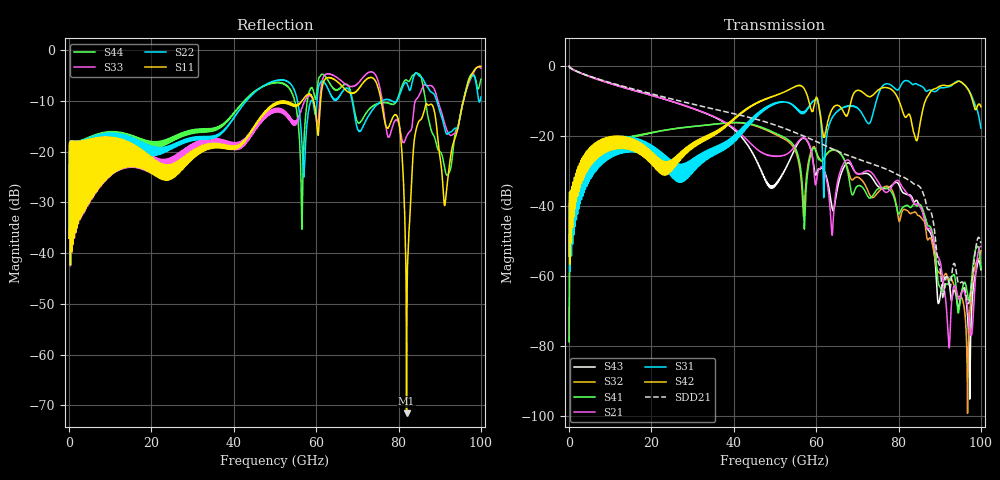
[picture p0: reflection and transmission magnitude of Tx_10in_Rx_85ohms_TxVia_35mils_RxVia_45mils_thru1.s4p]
! Info: Touchstone file created by Circ.  Input file=Tx_10in_Rx_85ohms_TxVia_35mils_RxVia_45mils.circ
# Hz S RI R 50
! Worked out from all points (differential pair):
!   10000 points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, 10 MHz to 100 GHz, reference 50 ohm
!   strongest paths, dB at 10 MHz, 25.01 GHz, 50.01 GHz, 75.01 GHz, 100 GHz:
!     S42: -54.3, -29.8, -8.5, -7.0, -11.7
!     S31: -54.3, -31.3, -10.7, -8.4, -17.8
!     S21: -0.1, -10.2, -25.9, -33.1, -51.6
!     S41: -78.8, -18.1, -19.2, -35.2, -57.8
!     S32: -78.8, -18.1, -19.5, -36.2, -52.8
!     S43: -0.1, -10.2, -34.3, -34.4, -58.2
!   taken as a pair (ports 1,3 in; 2,4 out), SDD21 dB: -0.1, -9.5, -16.9, -28.7, -50.7
!   lowest |S11| = -71.5 dB at 81.95 GHz (marker M1), VSWR 1.00, Z = 50 - j0.0215 ohm
!   |S11| at or under -10 dB: start of sweep to 51.74 GHz; 52.07 GHz to 56.56 GHz (4.485 GHz wide, 8.26 % of centre); 75.78 GHz to 95.76 GHz (19.98 GHz wide, 23.3 % of centre) (the widest 3 of 5)
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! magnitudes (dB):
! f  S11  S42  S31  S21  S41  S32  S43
! 10 MHz  -37.1  -54.3  -54.3  -0.1  -78.8  -78.8  -0.1
! 2.24 GHz  -34.1  -28.7  -29.0  -1.7  -31.5  -31.5  -1.7
! 13.04 GHz  -19.4  -20.9  -21.1  -6.1  -21.1  -21.1  -6.1
! 73.59 GHz  -5.5  -8.6  -14.7  -30.6  -37.3  -37.6  -32.0
! 81.95 GHz  -71.5  -14.6  -4.2  -36.2  -39.9  -41.3  -36.7
! 92.2 GHz  -23.7  -5.7  -6.0  -79.7  -61.8  -61.3  -61.2
! 100 GHz  -3.2  -11.7  -17.8  -51.6  -57.8  -52.8  -58.2
